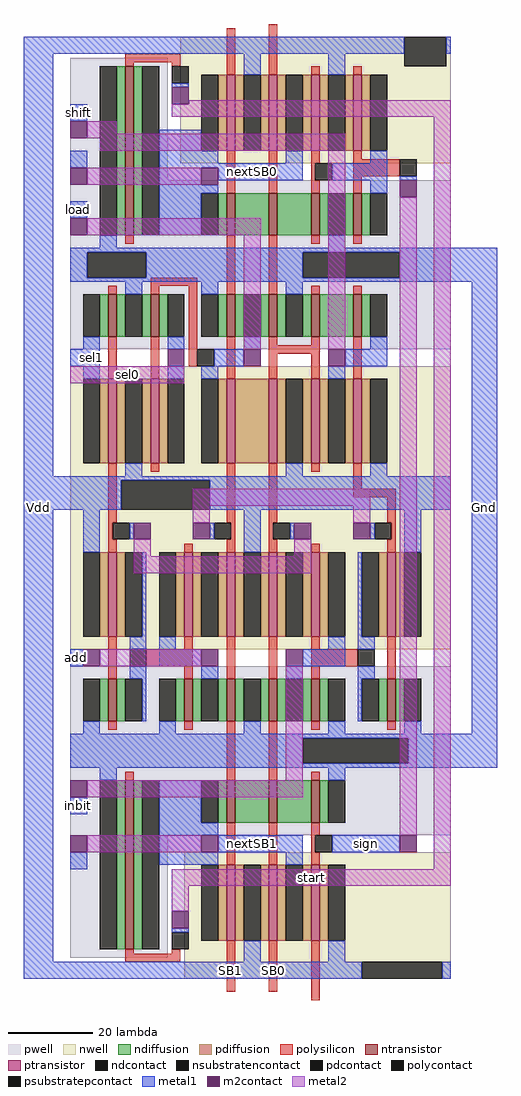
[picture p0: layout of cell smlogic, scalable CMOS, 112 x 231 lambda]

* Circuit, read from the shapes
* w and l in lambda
.subckt smlogic Gnd SB0 SB1 Vdd add inbit load nextSB0 nextSB1 sel0 sel1 shift sign start
M1 n1 SB0 Gnd Gnd nfet w=10 l=2
M2 Gnd SB0 sel1 Gnd nfet w=10 l=2
M3 nextSB1 start Gnd Gnd nfet w=40 l=2
M4 nextSB0 start Gnd Gnd nfet w=40 l=2
M5 sel0 load Gnd Gnd nfet w=10 l=2
M6 add n1 Gnd Gnd nfet w=10 l=2
M7 n2 SB1 nextSB1 Gnd nfet w=10 l=2
M8 Gnd SB1 add Gnd nfet w=10 l=2
M9 load SB1 Gnd Gnd nfet w=10 l=2
M10 n3 SB1 nextSB0 Gnd nfet w=10 l=2
M11 n4 SB0 n2 Gnd nfet w=10 l=2
M12 inbit SB0 Gnd Gnd nfet w=10 l=2
M13 Gnd SB0 load Gnd nfet w=10 l=2
M14 n5 SB0 n3 Gnd nfet w=10 l=2
M15 Gnd sign n4 Gnd nfet w=10 l=2
M16 Gnd n6 inbit Gnd nfet w=10 l=2
M17 n7 SB0 Gnd Gnd nfet w=10 l=2
M18 Gnd n8 n5 Gnd nfet w=10 l=2
M19 shift SB1 n7 Gnd nfet w=10 l=2
M20 n8 sign Gnd Gnd nfet w=10 l=2
M21 Gnd SB1 n6 Gnd nfet w=10 l=2
M22 n1 SB0 Vdd Vdd pfet w=20 l=2
M23 Vdd SB0 sel1 Vdd pfet w=20 l=2
M24 sel0 load Vdd Vdd pfet w=20 l=2
M25 n9 n1 add Vdd pfet w=20 l=2
M26 Vdd SB1 nextSB1 Vdd pfet w=18 l=2
M27 Vdd SB1 n9 Vdd pfet w=20 l=2
M28 n10 SB1 load Vdd pfet w=20 l=2
M29 Vdd SB1 nextSB0 Vdd pfet w=18 l=2
M30 nextSB1 SB0 Vdd Vdd pfet w=18 l=2
M31 n11 SB0 Vdd Vdd pfet w=20 l=2
M32 Vdd SB0 n10 Vdd pfet w=20 l=2
M33 nextSB0 SB0 Vdd Vdd pfet w=18 l=2
M34 Vdd sign nextSB1 Vdd pfet w=18 l=2
M35 inbit n6 n11 Vdd pfet w=20 l=2
M36 shift SB0 Vdd Vdd pfet w=20 l=2
M37 Vdd n8 nextSB0 Vdd pfet w=18 l=2
M38 Vdd SB1 shift Vdd pfet w=20 l=2
M39 n8 sign Vdd Vdd pfet w=18 l=2
M40 Vdd SB1 n6 Vdd pfet w=20 l=2
.ends

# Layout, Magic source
magic
tech scmos
<< pwell >>
rect -49 113 -26 142
rect -49 73 41 113
rect -49 -42 41 -2
rect -49 -71 -26 -42
<< nwell >>
rect -23 117 41 147
rect -49 2 41 69
rect -22 -76 41 -46
<< polysilicon >>
rect -36 141 -23 143
rect -36 140 -34 141
rect -25 140 -23 141
rect -12 138 -10 149
rect -2 138 0 150
rect 8 138 10 140
rect 18 138 20 140
rect -12 110 -10 120
rect -2 110 0 120
rect 8 117 10 120
rect 18 118 20 120
rect 8 113 9 117
rect 18 114 29 118
rect 8 110 10 113
rect 18 110 20 114
rect -36 98 -34 100
rect -30 88 -19 90
rect -40 86 -38 88
rect -30 86 -28 88
rect -40 66 -38 76
rect -30 66 -28 76
rect -21 69 -19 88
rect -12 86 -10 100
rect -2 86 0 100
rect 8 98 10 100
rect 18 98 20 100
rect 8 86 10 88
rect 18 86 20 88
rect -12 66 -10 76
rect -2 74 0 76
rect 8 74 10 76
rect -2 72 10 74
rect -2 66 0 72
rect 8 66 10 72
rect 18 66 20 76
rect -40 32 -38 46
rect -30 44 -28 46
rect -12 32 -10 46
rect -40 28 -39 32
rect -11 28 -10 32
rect -40 25 -38 28
rect -22 25 -20 27
rect -12 25 -10 28
rect -2 32 0 46
rect 8 44 10 46
rect 18 40 20 46
rect 18 38 28 40
rect 26 32 28 38
rect -2 28 -1 32
rect 27 28 28 32
rect -2 25 0 28
rect 8 25 10 27
rect 26 25 28 28
rect -40 -5 -38 5
rect -22 2 -20 5
rect -31 -2 -20 2
rect -22 -5 -20 -2
rect -12 -5 -10 5
rect -2 -5 0 5
rect 8 2 10 5
rect 8 -2 19 2
rect 8 -5 10 -2
rect 26 -5 28 5
rect -40 -17 -38 -15
rect -22 -17 -20 -15
rect -36 -29 -34 -27
rect -12 -29 -10 -15
rect -2 -29 0 -15
rect 8 -17 10 -15
rect 26 -17 28 -15
rect 8 -29 10 -27
rect -12 -49 -10 -39
rect -2 -49 0 -39
rect 8 -42 10 -39
rect 8 -46 9 -42
rect 8 -49 10 -46
rect -36 -70 -34 -69
rect -25 -70 -23 -69
rect -36 -72 -23 -70
rect -12 -79 -10 -67
rect -2 -79 0 -67
rect 8 -81 10 -67
<< ndiffusion >>
rect -38 100 -36 140
rect -34 100 -32 140
rect -14 100 -12 110
rect -10 100 -2 110
rect 0 100 8 110
rect 10 100 12 110
rect 16 100 18 110
rect 20 100 22 110
rect -42 76 -40 86
rect -38 76 -36 86
rect -32 76 -30 86
rect -28 76 -26 86
rect -14 76 -12 86
rect -10 76 -8 86
rect -4 76 -2 86
rect 0 76 2 86
rect 6 76 8 86
rect 10 76 18 86
rect 20 76 22 86
rect -42 -15 -40 -5
rect -38 -15 -36 -5
rect -24 -15 -22 -5
rect -20 -15 -18 -5
rect -14 -15 -12 -5
rect -10 -15 -8 -5
rect -4 -15 -2 -5
rect 0 -15 2 -5
rect 6 -15 8 -5
rect 10 -15 12 -5
rect 24 -15 26 -5
rect 28 -15 30 -5
rect -38 -69 -36 -29
rect -34 -69 -32 -29
rect -14 -39 -12 -29
rect -10 -39 -2 -29
rect 0 -39 8 -29
rect 10 -39 12 -29
<< pdiffusion >>
rect -14 120 -12 138
rect -10 120 -8 138
rect -4 120 -2 138
rect 0 120 2 138
rect 6 120 8 138
rect 10 120 12 138
rect 16 120 18 138
rect 20 120 22 138
rect -42 46 -40 66
rect -38 46 -36 66
rect -32 46 -30 66
rect -28 46 -26 66
rect -14 46 -12 66
rect -10 46 -2 66
rect 0 46 2 66
rect 6 46 8 66
rect 10 46 12 66
rect 16 46 18 66
rect 20 46 22 66
rect -42 5 -40 25
rect -38 5 -36 25
rect -24 5 -22 25
rect -20 5 -18 25
rect -14 5 -12 25
rect -10 5 -8 25
rect -4 5 -2 25
rect 0 5 2 25
rect 6 5 8 25
rect 10 5 12 25
rect 24 5 26 25
rect 28 5 30 25
rect -14 -67 -12 -49
rect -10 -67 -8 -49
rect -4 -67 -2 -49
rect 0 -67 2 -49
rect 6 -67 8 -49
rect 10 -67 12 -49
<< metal1 >>
rect -60 143 30 147
rect -60 43 -53 143
rect -49 127 -45 131
rect -49 116 -45 120
rect -49 104 -45 108
rect -8 138 -4 143
rect 12 138 16 143
rect 40 143 41 147
rect -25 135 -21 136
rect -28 120 -18 125
rect -28 117 -14 120
rect 2 117 6 120
rect 22 117 26 120
rect -28 116 6 117
rect -28 112 -18 116
rect -14 113 6 116
rect 13 113 26 117
rect -28 110 -14 112
rect 22 110 26 113
rect -28 100 -18 110
rect 29 113 33 114
rect -42 97 -38 100
rect 12 97 16 100
rect -49 96 52 97
rect -49 90 -45 96
rect -31 90 6 96
rect 29 90 52 96
rect -49 89 52 90
rect -36 86 -32 89
rect -18 86 -14 89
rect 2 86 6 89
rect -46 73 -42 76
rect -49 69 -42 73
rect -46 66 -42 69
rect -26 73 -22 76
rect -8 73 -4 76
rect 22 73 26 76
rect -15 69 -8 73
rect 16 69 26 73
rect -26 66 -22 69
rect -18 66 -14 69
rect 12 66 16 69
rect -36 43 -32 46
rect 2 43 6 46
rect 22 43 26 46
rect -60 42 41 43
rect -60 35 -37 42
rect -16 35 41 42
rect -60 -72 -53 35
rect -46 25 -42 35
rect -35 28 -34 32
rect -16 28 -15 32
rect -8 25 -4 35
rect 3 28 4 32
rect 22 28 23 32
rect 30 25 34 35
rect -32 5 -31 25
rect -35 2 -31 5
rect -49 -2 -46 2
rect -28 2 -24 5
rect 12 2 16 5
rect -28 -2 -18 2
rect -35 -5 -31 -2
rect -18 -5 -14 -2
rect 6 -2 16 2
rect 19 5 20 25
rect 19 2 23 5
rect 2 -5 6 -2
rect 19 -5 23 -2
rect -32 -15 -31 -5
rect 19 -15 20 -5
rect -46 -18 -42 -15
rect -28 -18 -24 -15
rect -8 -18 -4 -15
rect 12 -18 16 -15
rect 30 -18 34 -15
rect 46 -18 52 89
rect -49 -19 52 -18
rect -49 -25 6 -19
rect 31 -25 52 -19
rect -49 -26 52 -25
rect -42 -29 -38 -26
rect 12 -29 16 -26
rect -49 -37 -45 -33
rect -49 -50 -45 -46
rect -28 -39 -18 -29
rect -28 -42 -14 -39
rect -28 -46 -18 -42
rect -14 -46 6 -42
rect 13 -46 29 -42
rect -28 -49 -14 -46
rect 2 -49 6 -46
rect -25 -65 -21 -64
rect -8 -72 -4 -67
rect 12 -72 16 -67
rect -60 -76 20 -72
rect 39 -76 41 -72
<< metal2 >>
rect -21 131 41 132
rect -25 128 41 131
rect -45 124 -38 127
rect -45 123 16 124
rect -42 120 16 123
rect -45 112 -18 116
rect -45 100 -4 104
rect -8 73 -4 100
rect 12 73 16 120
rect -49 65 -22 69
rect -20 36 22 40
rect -20 32 -16 36
rect 18 32 22 36
rect -34 24 -30 28
rect 4 24 8 28
rect -34 20 8 24
rect -42 -2 -18 2
rect 2 -29 6 -2
rect -45 -33 6 -29
rect 29 -42 33 109
rect -45 -46 -18 -42
rect 37 -50 41 128
rect -25 -54 41 -50
rect -25 -60 -21 -54
<< ntransistor >>
rect -36 100 -34 140
rect -12 100 -10 110
rect -2 100 0 110
rect 8 100 10 110
rect 18 100 20 110
rect -40 76 -38 86
rect -30 76 -28 86
rect -12 76 -10 86
rect -2 76 0 86
rect 8 76 10 86
rect 18 76 20 86
rect -40 -15 -38 -5
rect -22 -15 -20 -5
rect -12 -15 -10 -5
rect -2 -15 0 -5
rect 8 -15 10 -5
rect 26 -15 28 -5
rect -36 -69 -34 -29
rect -12 -39 -10 -29
rect -2 -39 0 -29
rect 8 -39 10 -29
<< ptransistor >>
rect -12 120 -10 138
rect -2 120 0 138
rect 8 120 10 138
rect 18 120 20 138
rect -40 46 -38 66
rect -30 46 -28 66
rect -12 46 -10 66
rect -2 46 0 66
rect 8 46 10 66
rect 18 46 20 66
rect -40 5 -38 25
rect -22 5 -20 25
rect -12 5 -10 25
rect -2 5 0 25
rect 8 5 10 25
rect 26 5 28 25
rect -12 -67 -10 -49
rect -2 -67 0 -49
rect 8 -67 10 -49
<< polycontact >>
rect -25 136 -21 140
rect 9 113 13 117
rect 29 114 33 118
rect -19 69 -15 73
rect -39 28 -35 32
rect -15 28 -11 32
rect -1 28 3 32
rect 23 28 27 32
rect -35 -2 -31 2
rect 19 -2 23 2
rect 9 -46 13 -42
rect -25 -69 -21 -65
<< ndcontact >>
rect -42 100 -38 140
rect -32 100 -28 140
rect -18 100 -14 110
rect 12 100 16 110
rect 22 100 26 110
rect -46 76 -42 86
rect -36 76 -32 86
rect -26 76 -22 86
rect -18 76 -14 86
rect -8 76 -4 86
rect 2 76 6 86
rect 22 76 26 86
rect -46 -15 -42 -5
rect -36 -15 -32 -5
rect -28 -15 -24 -5
rect -18 -15 -14 -5
rect -8 -15 -4 -5
rect 2 -15 6 -5
rect 12 -15 16 -5
rect 20 -15 24 -5
rect 30 -15 34 -5
rect -42 -69 -38 -29
rect -32 -69 -28 -29
rect -18 -39 -14 -29
rect 12 -39 16 -29
<< pdcontact >>
rect -18 120 -14 138
rect -8 120 -4 138
rect 2 120 6 138
rect 12 120 16 138
rect 22 120 26 138
rect -46 46 -42 66
rect -36 46 -32 66
rect -26 46 -22 66
rect -18 46 -14 66
rect 2 46 6 66
rect 12 46 16 66
rect 22 46 26 66
rect -46 5 -42 25
rect -36 5 -32 25
rect -28 5 -24 25
rect -18 5 -14 25
rect -8 5 -4 25
rect 2 5 6 25
rect 12 5 16 25
rect 20 5 24 25
rect 30 5 34 25
rect -18 -67 -14 -49
rect -8 -67 -4 -49
rect 2 -67 6 -49
rect 12 -67 16 -49
<< m2contact >>
rect -49 123 -45 127
rect -49 112 -45 116
rect -49 100 -45 104
rect -25 131 -21 135
rect -18 112 -14 116
rect 29 109 33 113
rect -26 69 -22 73
rect -8 69 -4 73
rect 12 69 16 73
rect -34 28 -30 32
rect -20 28 -16 32
rect 4 28 8 32
rect 18 28 22 32
rect -46 -2 -42 2
rect -18 -2 -14 2
rect 2 -2 6 2
rect -49 -33 -45 -29
rect -49 -46 -45 -42
rect -18 -46 -14 -42
rect 29 -46 33 -42
rect -25 -64 -21 -60
<< psubstratepcontact >>
rect -45 90 -31 96
rect 6 90 29 96
rect 6 -25 31 -19
<< nsubstratencontact >>
rect 30 140 40 147
rect -37 35 -16 42
rect 20 -76 39 -72
<< labels >>
rlabel metal1 -46 66 -42 76 1 sel1
rlabel metal2 -49 65 -22 69 1 sel0
rlabel metal1 -49 -2 -46 2 3 add
rlabel metal1 13 -46 29 -42 1 sign
rlabel polysilicon -2 -79 0 -69 1 SB0
rlabel polysilicon -12 -79 -10 -69 1 SB1
rlabel metal1 -60 -76 -53 147 3 Vdd
rlabel metal1 46 -26 52 97 7 Gnd
rlabel metal1 -18 113 6 117 1 nextSB0
rlabel metal1 -49 104 -45 108 1 load
rlabel metal1 -49 127 -45 131 1 shift
rlabel metal1 -49 -37 -45 -33 1 inbit
rlabel metal1 -18 -46 6 -42 1 nextSB1
rlabel metal2 -25 -54 41 -50 1 start
<< end >>
